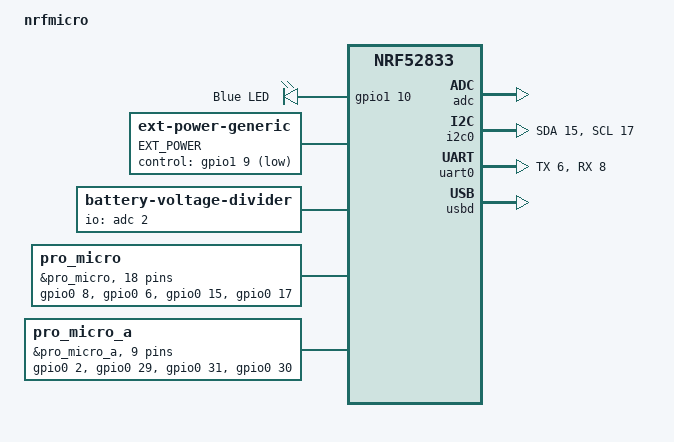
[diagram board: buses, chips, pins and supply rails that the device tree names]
/*
 * Copyright (c) 2020 The ZMK Contributors
 *
 * SPDX-License-Identifier: MIT
 */

/dts-v1/;
#include <nordic/nrf52833_qiaa.dtsi>
#include "arduino_pro_micro_pins.dtsi"

/ {
	model = "nrfmicro";
	compatible = "joric,nrfmicro";

	chosen {
		zephyr,code-partition = &code_partition;
		zephyr,sram = &sram0;
		zephyr,flash = &flash0;
		zephyr,console = &cdc_acm_uart;
	};

	leds {
		compatible = "gpio-leds";
		blue_led: led_0 {
			gpios = <&gpio1 10 GPIO_ACTIVE_HIGH>;
			label = "Blue LED";
		};
	};

	ext-power {
		compatible = "zmk,ext-power-generic";
		label = "EXT_POWER";
		control-gpios = <&gpio1 9 GPIO_ACTIVE_LOW>;
	};

	vbatt {
		compatible = "zmk,battery-voltage-divider";
		label = "BATTERY";
		io-channels = <&adc 2>;
		output-ohms = <2000000>;
		full-ohms = <(2000000 + 820000)>;
	};
};

&adc {
	status = "okay";
};

&gpiote {
	status = "okay";
};

&gpio0 {
	status = "okay";
};

&gpio1 {
	status = "okay";
};

&i2c0 {
	compatible = "nordic,nrf-twi";
	sda-pin = <15>;
	scl-pin = <17>;
};

&uart0 {
	compatible = "nordic,nrf-uarte";
	tx-pin = <6>;
	rx-pin = <8>;
};

&usbd {
	status = "okay";
	cdc_acm_uart: cdc_acm_uart {
		compatible = "zephyr,cdc-acm-uart";
		label = "CDC_ACM_0";
	};
};


&flash0 {
	/*
	 * For more information, see:
	 * http://docs.zephyrproject.org/latest/devices/dts/flash_partitions.html
	 */
	partitions {
		compatible = "fixed-partitions";
		#address-cells = <1>;
		#size-cells = <1>;

		sd_partition: partition@0 {
			label = "softdevice";
			reg = <0x00000000 0x00001000>;
		};
		code_partition: partition@1000 {
			label = "code_partition";
			reg = <0x00001000 0x0006b000>;
		};
		storage_partition: partition@6c000 {
			label = "storage";
			reg = <0x0006c000 0x00008000>;
		};

		boot_partition: partition@74000 {
			label = "adafruit_boot";
			reg = <0x00074000 0x0000c000>;
		};
	};
};

&pro_micro {
	gpio-map
		= <0 0 &gpio0 8 0>		/* D0 */
		, <1 0 &gpio0 6 0>		/* D1 */
		, <2 0 &gpio0 15 0>		/* D2 */
		, <3 0 &gpio0 17 0>		/* D3 */
		, <4 0 &gpio0 20 0>		/* D4/A6 */
		, <5 0 &gpio0 13 0>		/* D5 */
		, <6 0 &gpio0 24 0>		/* D6/A7 */
		, <7 0 &gpio0 9 0>		/* D7 */
		, <8 0 &gpio0 10 0>		/* D8/A8 */
		, <9 0 &gpio1 6 0>		/* D9/A9 */
		, <10 0 &gpio1 4 0>	/* D10/A10 */
		, <16 0 &gpio0 28 0>	/* D16 */
		, <14 0 &gpio0 3 0>	/* D14 */
		, <15 0 &gpio1 5 0>	/* D15 */
		, <18 0 &gpio0 2 0>	/* D18/A0 */
		, <19 0 &gpio0 29 0>	/* D19/A1 */
		, <20 0 &gpio0 31 0>	/* D20/A2 */
		, <21 0 &gpio0 30 0>	/* D21/A3 */
		;
};

&pro_micro_a {
	gpio-map
		= <0 0 &gpio0 2 0>	/* D18/A0 */
		, <1 0 &gpio0 29 0>	/* D19/A1 */
		, <2 0 &gpio0 31 0>	/* D20/A2 */
		, <3 0 &gpio0 30 0>	/* D21/A3 */
		, <6 0 &gpio0 20 0>	/* D4/A6 */
		, <7 0 &gpio0 24 0>	/* D6/A7 */
		, <8 0 &gpio0 10 0>	/* D8/A8 */
		, <9 0 &gpio1 6 0>	/* D9/A9 */
		, <10 0 &gpio1 4 0>	/* D10/A10 */
		;
};
